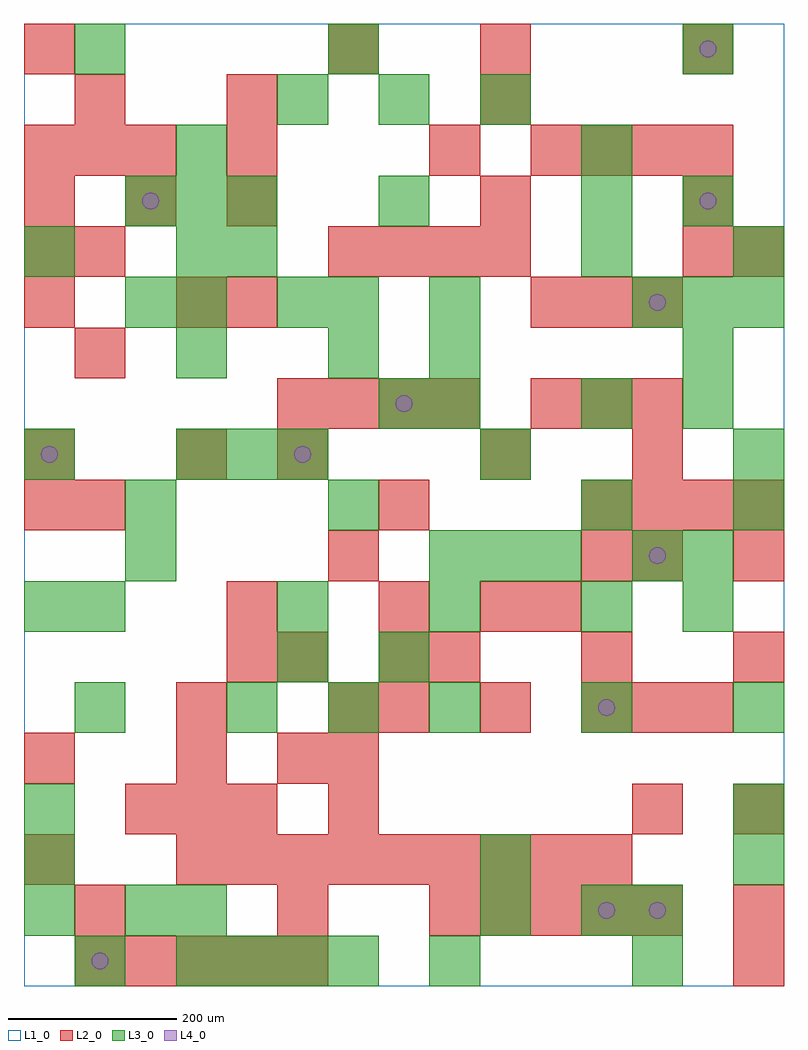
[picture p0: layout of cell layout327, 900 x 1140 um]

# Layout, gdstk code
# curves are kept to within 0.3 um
import gdstk
lib = gdstk.Library(unit=1e-6, precision=1e-09)
def R(c, l, rs):  # rectangles x0, y0, x1, y1
    for r in rs: c.add(gdstk.rectangle(r[:2], r[2:], *l))
def A(c, l, x, y, w, h, nx, ny, dx, dy):  # array of equal rectangles
    R(c, l, [(x+i*dx, y+j*dy, x+i*dx+w, y+j*dy+h) for i in range(nx) for j in range(ny)])
def P(c, l, *ps):  # polygons
    for p in ps: c.add(gdstk.Polygon(p, *l))
L1_0 = (1, 0)
L2_0 = (2, 0)
L3_0 = (3, 0)
L4_0 = (4, 0)

layout327 = lib.new_cell('layout327')
R(layout327, L1_0, [(0,0,900,1140)])
A(layout327, L2_0, 60, 0, 60, 60, 5, 1, 60, 0)
A(layout327, L2_0, 480, 60, 60, 60, 5, 1, 60, 0)
A(layout327, L2_0, 180, 120, 60, 60, 9, 1, 60, 0)
A(layout327, L2_0, 120, 180, 60, 60, 3, 1, 60, 0)
A(layout327, L2_0, 360, 180, 60, 60, 1, 3, 0, 60)
A(layout327, L2_0, 420, 300, 60, 60, 3, 1, 120, 0)
A(layout327, L2_0, 480, 360, 60, 60, 3, 1, 180, 0)
A(layout327, L2_0, 660, 540, 60, 60, 4, 1, 60, 0)
A(layout327, L2_0, 300, 660, 60, 60, 4, 1, 60, 0)
A(layout327, L2_0, 600, 660, 60, 60, 3, 2, 60, 120)
A(layout327, L2_0, 360, 840, 60, 60, 4, 1, 60, 0)
A(layout327, L2_0, 0, 900, 60, 60, 3, 1, 120, 0)
A(layout327, L2_0, 0, 960, 60, 60, 3, 1, 60, 0)
A(layout327, L2_0, 600, 960, 60, 60, 4, 1, 60, 0)
R(layout327, L2_0, [(840,0,900,60), (60,60,120,120), (300,60,360,120), (840,60,900,120), (0,120,60,180), (720,180,780,240), (840,180,900,240), (0,240,60,300), (180,240,240,300), (300,240,360,300), (180,300,240,360), (720,300,780,360), (780,300,840,360), (240,360,300,420), (300,360,360,420), (420,360,480,420), (240,420,300,480), (420,420,480,480), (540,420,600,480), (600,420,660,480), (360,480,420,540), (660,480,720,540), (720,480,780,540), (840,480,900,540), (0,540,60,600), (60,540,120,600), (420,540,480,600), (0,600,60,660), (180,600,240,660), (300,600,360,660), (540,600,600,660), (720,600,780,660), (60,720,120,780), (0,780,60,840), (180,780,240,840), (240,780,300,840), (0,840,60,900), (60,840,120,900), (780,840,840,900), (840,840,900,900), (540,900,600,960), (780,900,840,960), (240,960,300,1020), (480,960,540,1020), (60,1020,120,1080), (240,1020,300,1080), (540,1020,600,1080), (0,1080,60,1140), (360,1080,420,1140), (540,1080,600,1140), (780,1080,840,1140)])
A(layout327, L3_0, 180, 0, 60, 60, 4, 1, 60, 0)
A(layout327, L3_0, 0, 60, 60, 60, 1, 3, 0, 60)
A(layout327, L3_0, 660, 60, 60, 60, 1, 3, 0, 240)
A(layout327, L3_0, 240, 300, 60, 60, 3, 1, 120, 0)
A(layout327, L3_0, 300, 420, 60, 60, 3, 1, 180, 0)
A(layout327, L3_0, 480, 480, 60, 60, 3, 1, 60, 0)
A(layout327, L3_0, 180, 600, 60, 60, 3, 1, 60, 0)
A(layout327, L3_0, 480, 660, 60, 60, 1, 3, 0, 60)
A(layout327, L3_0, 180, 720, 60, 60, 1, 3, 0, 60)
A(layout327, L3_0, 780, 720, 60, 60, 1, 3, 0, 180)
A(layout327, L3_0, 720, 780, 60, 60, 3, 1, 60, 0)
A(layout327, L3_0, 660, 840, 60, 60, 1, 3, 0, 60)
A(layout327, L3_0, 120, 900, 60, 60, 3, 1, 60, 0)
A(layout327, L3_0, 300, 1020, 60, 60, 3, 1, 120, 0)
R(layout327, L3_0, [(60,0,120,60), (480,0,540,60), (720,0,780,60), (120,60,180,120), (180,60,240,120), (540,60,600,120), (720,60,780,120), (540,120,600,180), (840,120,900,180), (840,180,900,240), (60,300,120,360), (840,300,900,360), (300,360,360,420), (420,360,480,420), (0,420,60,480), (60,420,120,480), (780,420,840,480), (120,480,180,540), (720,480,780,540), (780,480,840,540), (120,540,180,600), (360,540,420,600), (840,540,900,600), (0,600,60,660), (540,600,600,660), (840,600,900,660), (420,660,480,720), (660,660,720,720), (780,660,840,720), (360,720,420,780), (120,780,180,840), (300,780,360,840), (360,780,420,840), (0,840,60,900), (240,840,300,900), (840,840,900,900), (420,900,480,960), (180,960,240,1020), (60,1080,120,1140), (360,1080,420,1140)])
P(layout327, L4_0, [(40,630),(39.239,633.827),(37.071,637.071),(33.827,639.239),(30,640),(26.173,639.239),(22.929,637.071),(20.761,633.827),(20,630),(20.761,626.173),(22.929,622.929),(26.173,620.761),(30,620),(33.827,620.761),(37.071,622.929),(39.239,626.173)],
  [(100,30),(99.239,33.827),(97.071,37.071),(93.827,39.239),(90,40),(86.173,39.239),(82.929,37.071),(80.761,33.827),(80,30),(80.761,26.173),(82.929,22.929),(86.173,20.761),(90,20),(93.827,20.761),(97.071,22.929),(99.239,26.173)],
  [(160,930),(159.239,933.827),(157.071,937.071),(153.827,939.239),(150,940),(146.173,939.239),(142.929,937.071),(140.761,933.827),(140,930),(140.761,926.173),(142.929,922.929),(146.173,920.761),(150,920),(153.827,920.761),(157.071,922.929),(159.239,926.173)],
  [(340,630),(339.239,633.827),(337.071,637.071),(333.827,639.239),(330,640),(326.173,639.239),(322.929,637.071),(320.761,633.827),(320,630),(320.761,626.173),(322.929,622.929),(326.173,620.761),(330,620),(333.827,620.761),(337.071,622.929),(339.239,626.173)],
  [(460,690),(459.239,693.827),(457.071,697.071),(453.827,699.239),(450,700),(446.173,699.239),(442.929,697.071),(440.761,693.827),(440,690),(440.761,686.173),(442.929,682.929),(446.173,680.761),(450,680),(453.827,680.761),(457.071,682.929),(459.239,686.173)],
  [(700,90),(699.239,93.827),(697.071,97.071),(693.827,99.239),(690,100),(686.173,99.239),(682.929,97.071),(680.761,93.827),(680,90),(680.761,86.173),(682.929,82.929),(686.173,80.761),(690,80),(693.827,80.761),(697.071,82.929),(699.239,86.173)],
  [(700,330),(699.239,333.827),(697.071,337.071),(693.827,339.239),(690,340),(686.173,339.239),(682.929,337.071),(680.761,333.827),(680,330),(680.761,326.173),(682.929,322.929),(686.173,320.761),(690,320),(693.827,320.761),(697.071,322.929),(699.239,326.173)],
  [(760,90),(759.239,93.827),(757.071,97.071),(753.827,99.239),(750,100),(746.173,99.239),(742.929,97.071),(740.761,93.827),(740,90),(740.761,86.173),(742.929,82.929),(746.173,80.761),(750,80),(753.827,80.761),(757.071,82.929),(759.239,86.173)],
  [(760,510),(759.239,513.827),(757.071,517.071),(753.827,519.239),(750,520),(746.173,519.239),(742.929,517.071),(740.761,513.827),(740,510),(740.761,506.173),(742.929,502.929),(746.173,500.761),(750,500),(753.827,500.761),(757.071,502.929),(759.239,506.173)],
  [(760,810),(759.239,813.827),(757.071,817.071),(753.827,819.239),(750,820),(746.173,819.239),(742.929,817.071),(740.761,813.827),(740,810),(740.761,806.173),(742.929,802.929),(746.173,800.761),(750,800),(753.827,800.761),(757.071,802.929),(759.239,806.173)],
  [(820,930),(819.239,933.827),(817.071,937.071),(813.827,939.239),(810,940),(806.173,939.239),(802.929,937.071),(800.761,933.827),(800,930),(800.761,926.173),(802.929,922.929),(806.173,920.761),(810,920),(813.827,920.761),(817.071,922.929),(819.239,926.173)],
  [(820,1110),(819.239,1113.827),(817.071,1117.071),(813.827,1119.239),(810,1120),(806.173,1119.239),(802.929,1117.071),(800.761,1113.827),(800,1110),(800.761,1106.173),(802.929,1102.929),(806.173,1100.761),(810,1100),(813.827,1100.761),(817.071,1102.929),(819.239,1106.173)])

lib.write_gds('layout327.gds')
